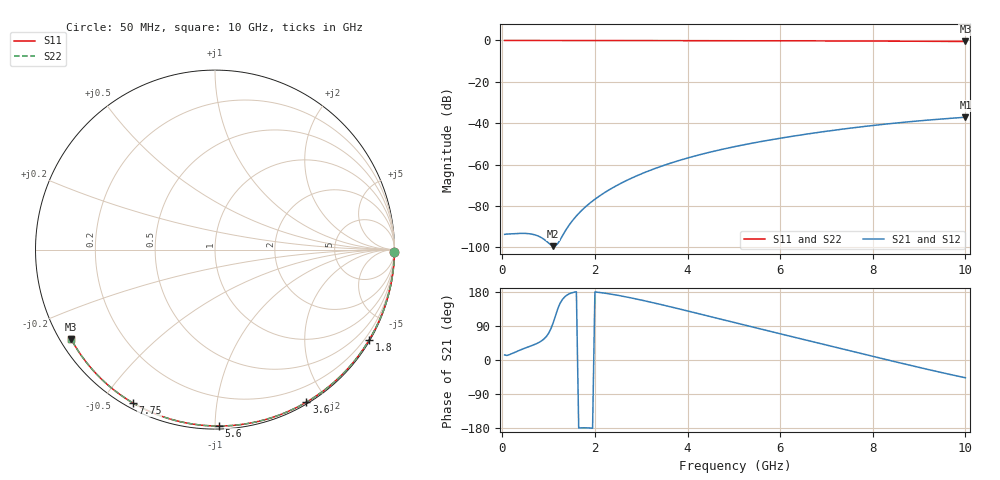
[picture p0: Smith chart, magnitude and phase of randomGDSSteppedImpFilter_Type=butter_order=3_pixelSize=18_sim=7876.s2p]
! freq	dB(S11)	phase(S11)	dB(S12)	phase(S12)
!  dB(S21)	phase(S21)	dB(S22)	phase(S22)
!S-par simulation data
#  GHz  S  DB  R 50
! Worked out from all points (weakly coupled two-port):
!   200 points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, 50 MHz to 10 GHz, reference 50 ohm
!   highest |S21| = -37.13 dB at 10 GHz (marker M1); lowest = -99.5 dB at 1.1 GHz (marker M2)
!   lowest |S11| = -0.5 dB at 10 GHz (marker M3), VSWR 34.71, Z = 1.56 - j14.3 ohm
!   |S11| at or under -10 dB: nowhere
!   |S22| runs from -0.5 to 0.0 dB; largest |S21 - S12| = 0
!   S11 on the Smith chart (normalised r, x): 50 MHz: open; 1.8 GHz: 0.03, -3.70; 3.6 GHz: 0.02, -1.77; 5.6 GHz: 0.02, -1.02; 7.75 GHz: 0.02, -0.60; 10 GHz: 0.03, -0.29
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0.05  -0.00 -0.9  -93.74 13.3  -93.74 13.3  -0.00 -0.9
0.55  -0.01 -9.4  -93.38 34.1  -93.38 34.1  -0.01 -9.4
1.1  -0.02 -18.6  -99.46 98.6  -99.46 98.6  -0.02 -18.6
1.75  -0.04 -29.5  -81.40 -178.9  -81.40 -178.9  -0.04 -29.5
1.8  -0.04 -30.3  -80.38 -178.9  -80.38 -178.9  -0.04 -30.3
1.85  -0.04 -31.1  -79.41 -179.1  -79.41 -179.1  -0.04 -31.1
2  -0.04 -33.6  -76.77 179.6  -76.77 179.6  -0.04 -33.6
2.15  -0.05 -36.0  -74.43 177.4  -74.43 177.4  -0.05 -36.0
2.5  -0.05 -41.7  -69.79 170.6  -69.79 170.6  -0.05 -41.7
2.9  -0.06 -48.1  -65.47 160.8  -65.47 160.8  -0.06 -48.1
3.4  -0.07 -56.0  -61.08 147.1  -61.08 147.1  -0.07 -56.0
3.6  -0.08 -59.1  -59.56 141.3  -59.56 141.3  -0.08 -59.1
3.9  -0.09 -63.7  -57.48 132.5  -57.48 132.5  -0.09 -63.7
4.3  -0.10 -69.7  -55.03 120.4  -55.03 120.4  -0.10 -69.7
5.05  -0.12 -80.8  -51.19 97.7  -51.19 97.7  -0.12 -80.8
5.6  -0.15 -88.7  -48.82 81.2  -48.82 81.2  -0.15 -88.7
6.15  -0.17 -96.5  -46.73 64.7  -46.73 64.7  -0.17 -96.5
6.7  -0.20 -104.1  -44.85 48.3  -44.85 48.3  -0.20 -104.1
7.75  -0.27 -118.3  -41.76 17.1  -41.76 17.1  -0.27 -118.3
8.35  -0.32 -126.2  -40.27 -0.7  -40.27 -0.7  -0.32 -126.2
9.2  -0.41 -137.5  -38.49 -25.2  -38.49 -25.2  -0.41 -137.5
10  -0.50 -148.1  -37.13 -46.9  -37.13 -46.9  -0.50 -148.1
